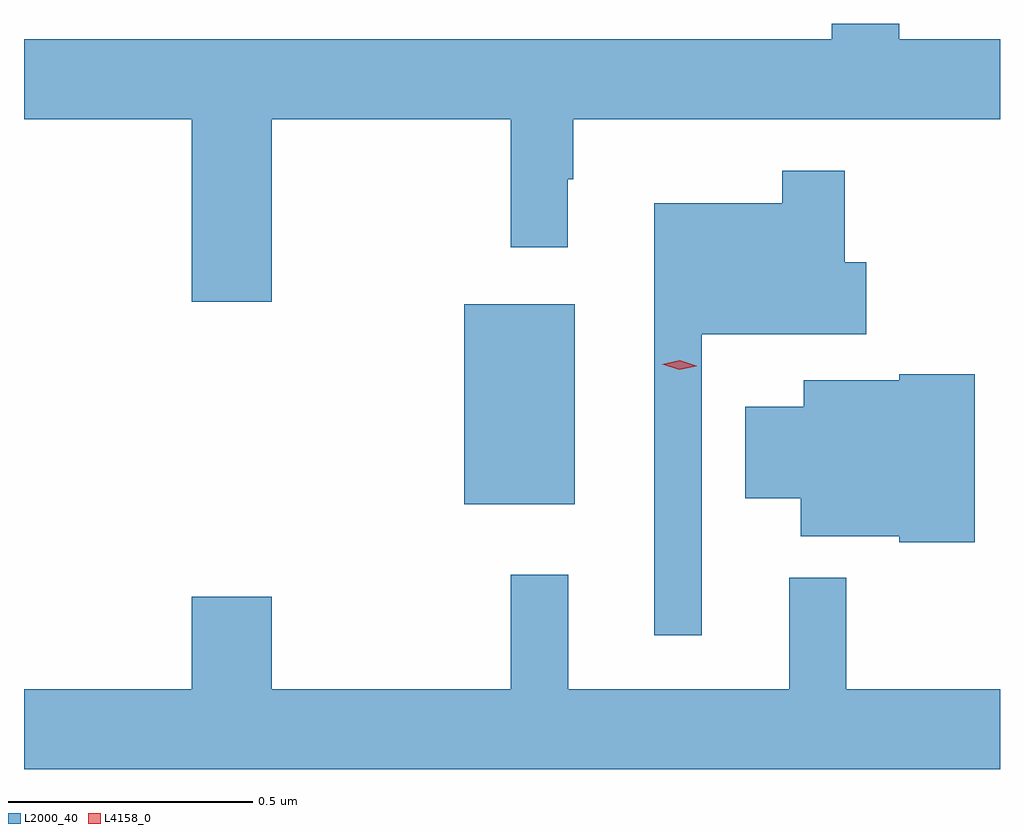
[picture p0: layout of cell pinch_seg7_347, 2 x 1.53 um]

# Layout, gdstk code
import gdstk
lib = gdstk.Library(unit=1e-6, precision=1e-09)
def R(c, l, rs):  # rectangles x0, y0, x1, y1
    for r in rs: c.add(gdstk.rectangle(r[:2], r[2:], *l))
def P(c, l, *ps):  # polygons
    for p in ps: c.add(gdstk.Polygon(p, *l))
L2000_40 = (2000, 40)
L4158_0 = (4158, 0)

pinch_seg7_347 = lib.new_cell('pinch_seg7_347')
R(pinch_seg7_347, L2000_40, [(417.314,1070.423,417.541,1070.833)])
P(pinch_seg7_347, L2000_40, [(416.412,1071.212),(416.756,1071.212),(416.756,1070.838),(416.92,1070.838),(416.92,1071.212),(417.409,1071.212),(417.409,1070.949),(417.526,1070.949),(417.526,1071.089),(417.538,1071.089),(417.538,1071.212),(418.412,1071.212),(418.412,1071.376),(418.206,1071.376),(418.206,1071.407),(418.067,1071.407),(418.067,1071.376),(416.412,1071.376)],
  [(417.801,1070.771),(418.138,1070.771),(418.138,1070.919),(418.094,1070.919),(418.094,1071.106),(417.966,1071.106),(417.966,1071.04),(417.704,1071.04),(417.704,1070.154),(417.801,1070.154)],
  [(418.36,1070.689),(418.206,1070.689),(418.206,1070.677),(418.01,1070.677),(418.01,1070.623),(417.89,1070.623),(417.89,1070.435),(418.004,1070.435),(418.004,1070.357),(418.206,1070.357),(418.206,1070.345),(418.36,1070.345)],
  [(418.412,1070.044),(418.097,1070.044),(418.097,1070.272),(417.98,1070.272),(417.98,1070.044),(417.527,1070.044),(417.527,1070.278),(417.409,1070.278),(417.409,1070.044),(416.92,1070.044),(416.92,1070.233),(416.756,1070.233),(416.756,1070.044),(416.412,1070.044),(416.412,1069.88),(418.412,1069.88)])
P(pinch_seg7_347, L4158_0, [(417.755,1070.698),(417.72,1070.71),(417.72,1070.71),(417.72,1070.71),(417.756,1070.718),(417.79,1070.707),(417.791,1070.707),(417.79,1070.706)])

lib.write_gds('pinch_seg7_347.gds')
